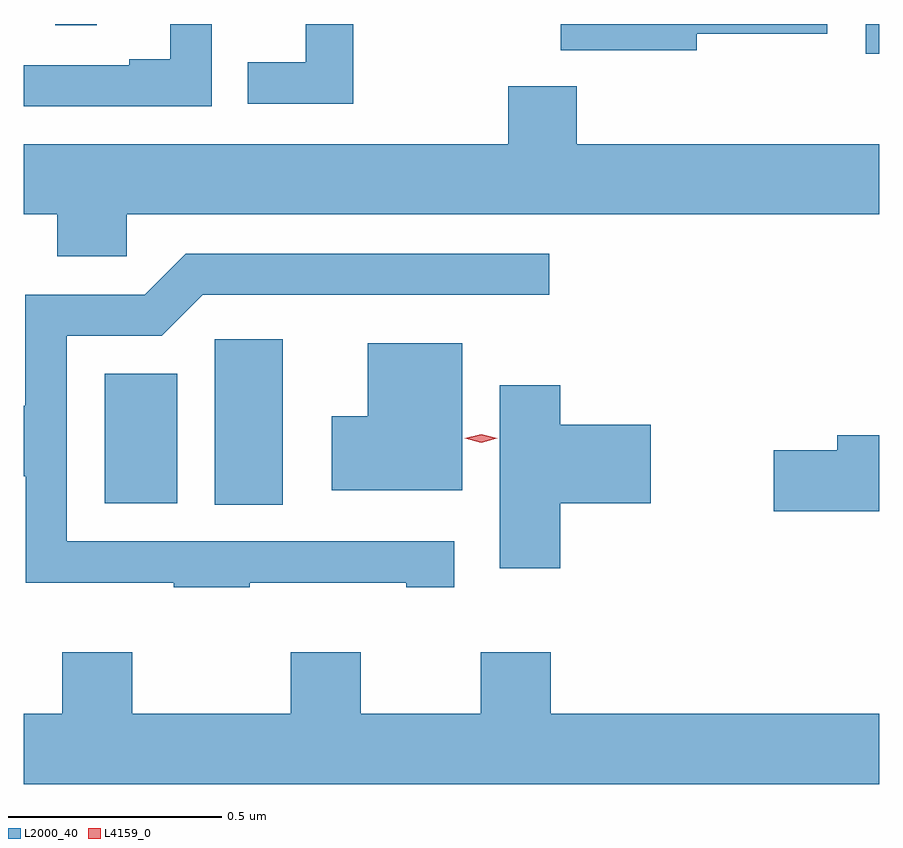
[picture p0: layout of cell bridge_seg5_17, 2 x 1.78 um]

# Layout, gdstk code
import gdstk
lib = gdstk.Library(unit=1e-6, precision=1e-09)
def R(c, l, rs):  # rectangles x0, y0, x1, y1
    for r in rs: c.add(gdstk.rectangle(r[:2], r[2:], *l))
def P(c, l, *ps):  # polygons
    for p in ps: c.add(gdstk.Polygon(p, *l))
L2000_40 = (2000, 40)
L4159_0 = (4159, 0)

bridge_seg5_17 = lib.new_cell('bridge_seg5_17')
R(bridge_seg5_17, L2000_40, [(1057.136,880.057,1057.294,880.444), (1056.878,880.061,1057.048,880.363), (1058.657,881.112,1058.689,881.181), (1056.762,881.178,1056.859,881.181)])
P(bridge_seg5_17, L2000_40, [(1057.128,881.181),(1057.031,881.181),(1057.031,881.098),(1056.935,881.098),(1056.935,881.085),(1056.689,881.085),(1056.689,880.989),(1057.128,880.989)],
  [(1058.263,881.158),(1058.568,881.158),(1058.568,881.181),(1057.945,881.181),(1057.945,881.12),(1058.263,881.12)],
  [(1057.459,881.181),(1057.348,881.181),(1057.348,881.092),(1057.213,881.092),(1057.213,880.995),(1057.459,880.995)],
  [(1056.93,880.736),(1058.689,880.736),(1058.689,880.9),(1057.982,880.9),(1057.982,881.035),(1057.822,881.035),(1057.822,880.9),(1056.689,880.9),(1056.689,880.736),(1056.767,880.736),(1056.767,880.638),(1056.93,880.638)],
  [(1057.217,879.875),(1057.583,879.875),(1057.583,879.864),(1057.696,879.864),(1057.696,879.972),(1056.789,879.972),(1056.789,880.452),(1057.011,880.452),(1057.107,880.548),(1057.918,880.548),(1057.918,880.644),(1057.068,880.644),(1056.972,880.548),(1056.692,880.548),(1056.692,880.288),(1056.689,880.288),(1056.689,880.124),(1056.693,880.124),(1056.693,879.875),(1057.039,879.875),(1057.039,879.864),(1057.217,879.864)],
  [(1057.714,880.435),(1057.493,880.435),(1057.493,880.264),(1057.409,880.264),(1057.409,880.091),(1057.714,880.091)],
  [(1057.943,880.061),(1058.155,880.061),(1058.155,880.244),(1057.943,880.244),(1057.943,880.336),(1057.802,880.336),(1057.802,879.909),(1057.943,879.909)],
  [(1058.689,880.22),(1058.591,880.22),(1058.591,880.184),(1058.442,880.184),(1058.442,880.042),(1058.689,880.042)],
  [(1058.689,879.568),(1057.921,879.568),(1057.921,879.712),(1057.757,879.712),(1057.757,879.568),(1057.477,879.568),(1057.477,879.712),(1057.313,879.712),(1057.313,879.568),(1056.943,879.568),(1056.943,879.712),(1056.779,879.712),(1056.779,879.568),(1056.689,879.568),(1056.689,879.404),(1058.689,879.404)])
P(bridge_seg5_17, L4159_0, [(1057.758,880.202),(1057.72,880.212),(1057.72,880.212),(1057.72,880.212),(1057.758,880.222),(1057.796,880.212),(1057.796,880.212),(1057.796,880.212)])

lib.write_gds('bridge_seg5_17.gds')
